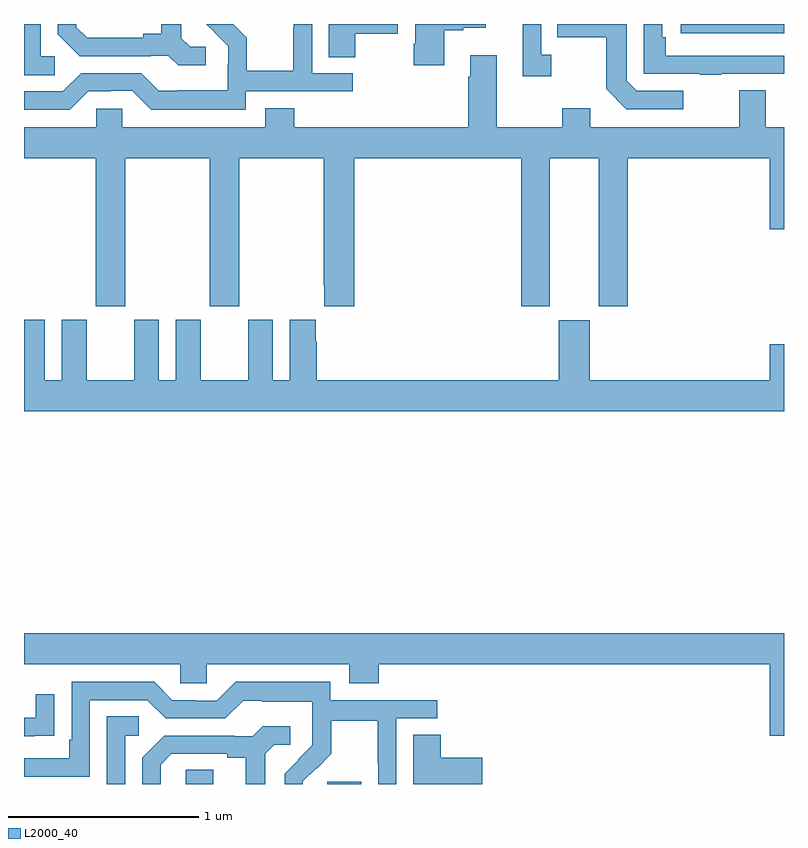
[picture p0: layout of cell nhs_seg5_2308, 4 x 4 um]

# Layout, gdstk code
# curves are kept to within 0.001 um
import gdstk
lib = gdstk.Library(unit=1e-6, precision=1e-09)
def R(c, l, rs):  # rectangles x0, y0, x1, y1
    for r in rs: c.add(gdstk.rectangle(r[:2], r[2:], *l))
def P(c, l, *ps):  # polygons
    for p in ps: c.add(gdstk.Polygon(p, *l))
L2000_40 = (2000, 40)

nhs_seg5_2308 = lib.new_cell('nhs_seg5_2308')
R(nhs_seg5_2308, L2000_40, [(245.85,854.799,245.995,854.873), (246.596,854.799,246.775,854.811), (248.457,858.75,249,858.799)])
P(nhs_seg5_2308, L2000_40, [(246.744,858.749),(246.967,858.749),(246.967,858.799),(246.605,858.799),(246.605,858.625),(246.744,858.625)],
  [(248.47,858.447),(248.226,858.447),(248.172,858.501),(248.172,858.799),(247.807,858.799),(247.807,858.73),(248.064,858.73),(248.064,858.457),(248.169,858.351),(248.47,858.351)],
  [(245.956,858.678),(245.874,858.678),(245.827,858.725),(245.827,858.799),(245.723,858.799),(245.723,858.749),(245.627,858.749),(245.627,858.726),(245.332,858.726),(245.275,858.783),(245.275,858.799),(245.178,858.799),(245.178,858.746),(245.294,858.63),(245.666,858.63),(245.666,858.633),(245.76,858.633),(245.812,858.581),(245.956,858.581)],
  [(245.161,858.63),(245.088,858.63),(245.088,858.799),(245,858.799),(245,858.529),(245.161,858.529)],
  [(247.774,858.638),(247.722,858.638),(247.722,858.799),(247.625,858.799),(247.625,858.525),(247.774,858.525)],
  [(247.213,858.767),(247.313,858.767),(247.313,858.779),(247.429,858.779),(247.429,858.799),(247.058,858.799),(247.058,858.694),(247.051,858.694),(247.051,858.582),(247.213,858.582)],
  [(248.669,858.537),(249,858.537),(249,858.633),(248.378,858.633),(248.378,858.73),(248.358,858.73),(248.358,858.799),(248.262,858.799),(248.262,858.537),(248.557,858.537),(248.557,858.532),(248.669,858.532)],
  [(246.168,858.444),(246.73,858.444),(246.73,858.54),(246.516,858.54),(246.516,858.799),(246.42,858.799),(246.42,858.776),(246.418,858.776),(246.418,858.553),(246.173,858.553),(246.173,858.727),(246.101,858.799),(245.959,858.799),(246.074,858.682),(246.074,858.585),(246.072,858.585),(246.072,858.451),(245.809,858.451),(245.809,858.447),(245.709,858.447),(245.616,858.54),(245.301,858.54),(245.205,858.444),(245,858.444),(245,858.348),(245.241,858.348),(245.337,858.444),(245.456,858.444),(245.456,858.447),(245.571,858.447),(245.671,858.347),(246.168,858.347)],
  [(245.532,858.092),(245.977,858.092),(245.977,857.313),(246.132,857.313),(246.132,858.092),(246.577,858.092),(246.577,857.425),(246.581,857.425),(246.581,857.313),(246.737,857.313),(246.737,858.092),(247.616,858.092),(247.616,857.313),(247.768,857.313),(247.768,858.092),(248.024,858.092),(248.024,857.313),(248.177,857.313),(248.177,858.092),(248.924,858.092),(248.924,857.718),(249,857.718),(249,858.256),(248.905,858.256),(248.905,858.451),(248.765,858.451),(248.765,858.256),(247.981,858.256),(247.981,858.355),(247.834,858.355),(247.834,858.256),(247.489,858.256),(247.489,858.634),(247.349,858.634),(247.349,858.521),(247.337,858.521),(247.337,858.256),(246.422,858.256),(246.422,858.355),(246.269,858.355),(246.269,858.256),(245.517,858.256),(245.517,858.354),(245.379,858.354),(245.379,858.256),(245,858.256),(245,858.092),(245.377,858.092),(245.377,857.313),(245.532,857.313)],
  [(249,857.113),(248.924,857.113),(248.924,856.924),(247.978,856.924),(247.978,857.241),(247.814,857.241),(247.814,856.924),(246.542,856.924),(246.542,857.129),(246.535,857.129),(246.535,857.242),(246.398,857.242),(246.398,856.924),(246.31,856.924),(246.31,857.242),(246.179,857.242),(246.179,856.924),(245.929,856.924),(245.929,857.242),(245.798,857.242),(245.798,856.924),(245.71,856.924),(245.71,857.242),(245.579,857.242),(245.579,856.924),(245.329,856.924),(245.329,857.242),(245.198,857.242),(245.198,856.924),(245.11,856.924),(245.11,857.242),(245,857.242),(245,856.76),(249,856.76)],
  [(249,855.592),(245,855.592),(245,855.428),(245.823,855.428),(245.823,855.33),(245.961,855.33),(245.961,855.428),(246.713,855.428),(246.713,855.329),(246.866,855.329),(246.866,855.428),(248.924,855.428),(248.924,855.054),(249,855.054)],
  [(246.467,854.813),(246.537,854.883),(246.54,854.88),(246.617,854.957),(246.617,855.132),(246.862,855.132),(246.862,854.908),(246.864,854.908),(246.864,854.799),(246.96,854.799),(246.96,855.144),(247.174,855.144),(247.174,855.24),(246.612,855.24),(246.612,855.337),(246.115,855.337),(246.015,855.237),(245.9,855.237),(245.9,855.24),(245.781,855.24),(245.685,855.336),(245.25,855.336),(245.25,855.031),(245.237,855.031),(245.237,854.934),(245,854.934),(245,854.838),(245.346,854.838),(245.346,855.24),(245.649,855.24),(245.745,855.144),(246.06,855.144),(246.153,855.237),(246.253,855.237),(246.253,855.233),(246.516,855.233),(246.516,855.099),(246.518,855.099),(246.518,855.002),(246.372,854.854),(246.372,854.799),(246.467,854.799)],
  [(245.057,855.052),(245.159,855.052),(245.159,855.271),(245.063,855.271),(245.063,855.147),(245,855.147),(245,855.051),(245.057,855.051)],
  [(245.532,855.054),(245.605,855.054),(245.605,855.155),(245.436,855.155),(245.436,854.799),(245.532,854.799)],
  [(245.719,854.901),(245.776,854.958),(246.071,854.958),(246.071,854.936),(246.167,854.936),(246.167,854.799),(246.271,854.799),(246.271,854.959),(246.318,855.006),(246.4,855.006),(246.4,855.103),(246.256,855.103),(246.204,855.051),(246.11,855.051),(246.11,855.054),(245.738,855.054),(245.622,854.938),(245.622,854.799),(245.719,854.799)],
  [(247.411,854.936),(247.193,854.936),(247.193,855.059),(247.049,855.059),(247.049,854.799),(247.411,854.799)])

lib.write_gds('nhs_seg5_2308.gds')
